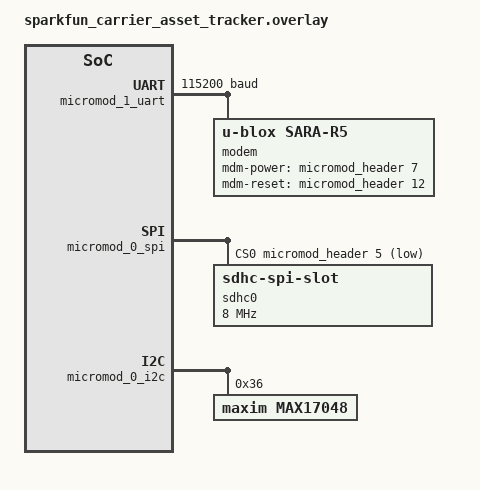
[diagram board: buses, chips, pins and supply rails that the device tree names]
/*
 * Copyright (c) 2024 Jerónimo Agulló <jeronimoagullo97@gmail.com>
 *
 * SPDX-License-Identifier: Apache-2.0
 */

/ {
	aliases {
		modem-uart = &micromod_1_uart;
		modem = &modem;
	};
};

&micromod_1_uart {
	current-speed = <115200>;
	hw-flow-control;
	status = "okay";

	modem: sara_r5 {
		compatible = "u-blox,sara-r5";
		mdm-power-gpios = <&micromod_header 7 0>; /* G2 */
		mdm-reset-gpios = <&micromod_header 12 0>; /* D6 */
		status = "okay";
	};
};

&micromod_0_spi {
	status = "okay";
	/* G0 (SD_CS) */
	cs-gpios = <&micromod_header 5 GPIO_ACTIVE_LOW>;

	sdhc0: sdhc@0 {
		compatible = "zephyr,sdhc-spi-slot";
		reg = <0>;
		status = "okay";
		mmc {
			compatible = "zephyr,sdmmc-disk";
			disk-name = "SD";
			status = "okay";
		};
		spi-max-frequency = <DT_FREQ_M(8)>;
	};
};

&micromod_0_i2c {
	max17048: max17048@36 {
		compatible = "maxim,max17048";
		reg = <0x36>;
		status = "okay";
	};
};
